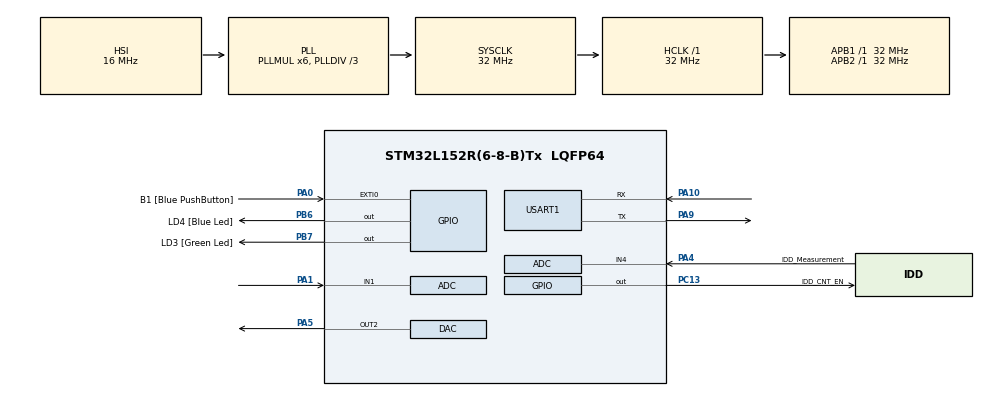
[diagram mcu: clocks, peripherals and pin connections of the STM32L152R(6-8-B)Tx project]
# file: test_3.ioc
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ADC.Channel-0\#ChannelRegularConversion=ADC_CHANNEL_1
ADC.ClockPrescaler=ADC_CLOCK_ASYNC_DIV1
ADC.ContinuousConvMode=DISABLE
ADC.DMAContinuousRequests=DISABLE
ADC.DataAlign=ADC_DATAALIGN_RIGHT
ADC.DiscontinuousConvMode=DISABLE
ADC.EOCSelection=ADC_EOC_SEQ_CONV
ADC.EnableAnalogWatchDog=false
ADC.ExternalTrigConv=ADC_SOFTWARE_START
ADC.ExternalTrigConvEdge=ADC_EXTERNALTRIGCONVEDGE_NONE
ADC.InjNumberOfConversion=0
ADC.LowPowerAutoPowerOff=ADC_AUTOPOWEROFF_DISABLE
ADC.LowPowerAutoWait=ADC_AUTOWAIT_DISABLE
ADC.NbrOfConversion=1
ADC.NbrOfConversionFlag=1
ADC.Rank-0\#ChannelRegularConversion=1
ADC.Resolution=ADC_RESOLUTION_12B
ADC.SamplingTime-0\#ChannelRegularConversion=ADC_SAMPLETIME_4CYCLES
ADC.ScanConvMode=ADC_SCAN_DISABLE
Dma.ADC.0.Direction=DMA_PERIPH_TO_MEMORY
Dma.ADC.0.Instance=DMA1_Channel1
Dma.ADC.0.MemDataAlignment=DMA_MDATAALIGN_HALFWORD
Dma.ADC.0.MemInc=DMA_MINC_ENABLE
Dma.ADC.0.Mode=DMA_NORMAL
Dma.ADC.0.PeriphDataAlignment=DMA_PDATAALIGN_HALFWORD
Dma.ADC.0.PeriphInc=DMA_PINC_DISABLE
Dma.ADC.0.Priority=DMA_PRIORITY_LOW
Dma.DAC_CH2.1.Direction=DMA_MEMORY_TO_PERIPH
Dma.DAC_CH2.1.Instance=DMA1_Channel3
Dma.DAC_CH2.1.MemDataAlignment=DMA_MDATAALIGN_HALFWORD
Dma.DAC_CH2.1.MemInc=DMA_MINC_ENABLE
Dma.DAC_CH2.1.Mode=DMA_NORMAL
Dma.DAC_CH2.1.PeriphDataAlignment=DMA_PDATAALIGN_HALFWORD
Dma.DAC_CH2.1.PeriphInc=DMA_PINC_DISABLE
Dma.DAC_CH2.1.Priority=DMA_PRIORITY_MEDIUM
Dma.Request0=ADC
Dma.Request1=DAC_CH2
FREERTOS.Queues01=uartCommand,16,uint32_t,0,Dynamic,NULL,NULL;uartSendMessage,16,uint16_t,0,Dynamic,NULL,NULL
FREERTOS.Tasks01=defaultTask,0,128,StartDefaultTask,Default,NULL,Dynamic,NULL,NULL;workCommandTask,-1,512,workCommand,Default,NULL,Dynamic,NULL,NULL;uartSendTask,-1,512,uartSend,Default,NULL,Dynamic,NULL,NULL
FREERTOS.configTOTAL_HEAP_SIZE=8192
Mcu.Family=STM32L1
Mcu.Name=STM32L152R(6-8-B)Tx
Mcu.Package=LQFP64
NVIC.DMA1_Channel1_IRQn=true\:6\:0\:true\:false\:true\:true\:false
NVIC.DMA1_Channel3_IRQn=true\:6\:0\:true\:false\:true\:true\:false
NVIC.PriorityGroup=NVIC_PRIORITYGROUP_4
NVIC.TIM2_IRQn=true\:0\:0\:false\:false\:true\:false\:false
NVIC.TIM3_IRQn=true\:5\:0\:false\:false\:true\:true\:true
NVIC.TimeBase=TIM2_IRQn
NVIC.TimeBaseIP=TIM2
NVIC.USART1_IRQn=true\:5\:0\:false\:false\:true\:true\:true
PA0-WKUP1.GPIO_Label=B1 [Blue PushButton]
PA0-WKUP1.GPIO_ModeDefaultEXTI=GPIO_MODE_EVT_RISING
PA0-WKUP1.GPIO_PuPd=GPIO_NOPULL
PA0-WKUP1.Signal=GPXTI0
PA1.Mode=IN1
PA1.Signal=ADC_IN1
PA10.Mode=Asynchronous
PA10.Signal=USART1_RX
PA13.GPIO_Label=SWDIO
PA13.Signal=SYS_JTMS-SWDIO
PA14.GPIO_Label=SWCLK
PA14.Signal=SYS_JTCK-SWCLK
PA15.GPIO_Label=SEG12 [GH08172T_SEG12]
PA15.GPIO_Mode=GPIO_MODE_AF_PP
PA15.GPIO_PuPd=GPIO_NOPULL
PA15.GPIO_Speed=GPIO_SPEED_FREQ_LOW
PA15.Signal=LCD_SEG17
PA2.GPIO_Label=SEG1 [GH08172T_SEG1]
PA2.GPIO_Mode=GPIO_MODE_AF_PP
PA2.GPIO_PuPd=GPIO_NOPULL
PA2.GPIO_Speed=GPIO_SPEED_FREQ_LOW
PA2.Signal=LCD_SEG1
PA3.GPIO_Label=SEG2 [GH08172T_SEG2]
PA3.GPIO_Mode=GPIO_MODE_AF_PP
PA3.GPIO_PuPd=GPIO_NOPULL
PA3.GPIO_Speed=GPIO_SPEED_FREQ_LOW
PA3.Signal=LCD_SEG2
PA4.GPIO_Label=IDD_Measurement
PA4.GPIO_Mode=GPIO_MODE_ANALOG
PA4.GPIO_PuPd=GPIO_NOPULL
PA4.Mode=IN4
PA4.Signal=ADC_IN4
PA5.Signal=COMP_DAC2_group
PA6.GPIO_Label=GRP2_Sampling [Touch_Slider_1]
PA6.Signal=TS_G2_IO1
PA7.GPIO_Label=GRP2_Ground [Touch_Slider_1]
PA7.Signal=TS_G2_IO2
PA8.GPIO_Label=COM0 [GH08172T_COM0]
PA8.GPIO_Mode=GPIO_MODE_AF_PP
PA8.GPIO_PuPd=GPIO_NOPULL
PA8.GPIO_Speed=GPIO_SPEED_FREQ_LOW
PA8.Signal=LCD_COM0
PA9.Mode=Asynchronous
PA9.Signal=USART1_TX
PB0.GPIO_Label=GRP3_Sampling [Touch_Slider_3]
PB0.Signal=TS_G3_IO1
PB1.GPIO_Label=GRP3_Ground [Touch_Slider_3]
PB1.Signal=TS_G3_IO2
PB10.GPIO_Label=SEG6 [GH08172T_SEG6]
PB10.GPIO_Mode=GPIO_MODE_AF_PP
PB10.GPIO_PuPd=GPIO_NOPULL
PB10.GPIO_Speed=GPIO_SPEED_FREQ_LOW
PB10.Signal=LCD_SEG10
PB11.GPIO_Label=SEG7 [GH08172T_SEG7]
PB11.GPIO_Mode=GPIO_MODE_AF_PP
PB11.GPIO_PuPd=GPIO_NOPULL
PB11.GPIO_Speed=GPIO_SPEED_FREQ_LOW
PB11.Signal=LCD_SEG11
PB12.GPIO_Label=SEG8 [GH08172T_SEG8]
PB12.GPIO_Mode=GPIO_MODE_AF_PP
PB12.GPIO_PuPd=GPIO_NOPULL
PB12.GPIO_Speed=GPIO_SPEED_FREQ_LOW
PB12.Signal=LCD_SEG12
PB13.GPIO_Label=SEG9 [GH08172T_SEG9]
PB13.GPIO_Mode=GPIO_MODE_AF_PP
PB13.GPIO_PuPd=GPIO_NOPULL
PB13.GPIO_Speed=GPIO_SPEED_FREQ_LOW
PB13.Signal=LCD_SEG13
PB14.GPIO_Label=SEG10 [GH08172T_SEG10]
PB14.GPIO_Mode=GPIO_MODE_AF_PP
PB14.GPIO_PuPd=GPIO_NOPULL
PB14.GPIO_Speed=GPIO_SPEED_FREQ_LOW
PB14.Signal=LCD_SEG14
PB15.GPIO_Label=SEG11 [GH08172T_SEG11]
PB15.GPIO_Mode=GPIO_MODE_AF_PP
PB15.GPIO_PuPd=GPIO_NOPULL
PB15.GPIO_Speed=GPIO_SPEED_FREQ_LOW
PB15.Signal=LCD_SEG15
PB3.GPIO_Label=SEG3 [GH08172T_SEG3]
PB3.GPIO_Mode=GPIO_MODE_AF_PP
PB3.GPIO_PuPd=GPIO_NOPULL
PB3.GPIO_Speed=GPIO_SPEED_FREQ_LOW
PB3.Signal=LCD_SEG7
PB4.GPIO_Label=SEG4 [GH08172T_SEG4]
PB4.GPIO_Mode=GPIO_MODE_AF_PP
PB4.GPIO_PuPd=GPIO_NOPULL
PB4.GPIO_Speed=GPIO_SPEED_FREQ_LOW
PB4.Signal=LCD_SEG8
PB5.GPIO_Label=SEG5 [GH08172T_SEG5]
PB5.GPIO_Mode=GPIO_MODE_AF_PP
PB5.GPIO_PuPd=GPIO_NOPULL
PB5.GPIO_Speed=GPIO_SPEED_FREQ_LOW
PB5.Signal=LCD_SEG9
PB6.GPIO_Label=LD4 [Blue Led]
PB6.GPIO_ModeDefaultOutputPP=GPIO_MODE_OUTPUT_PP
PB6.GPIO_PuPd=GPIO_NOPULL
PB6.GPIO_Speed=GPIO_SPEED_FREQ_LOW
PB6.Signal=GPIO_Output
PB7.GPIO_Label=LD3 [Green Led]
PB7.GPIO_ModeDefaultOutputPP=GPIO_MODE_OUTPUT_PP
PB7.GPIO_PuPd=GPIO_NOPULL
PB7.GPIO_Speed=GPIO_SPEED_FREQ_LOW
PB7.Signal=GPIO_Output
PB8.GPIO_Label=SEG13 [GH08172T_SEG13]
PB8.GPIO_Mode=GPIO_MODE_AF_PP
PB8.GPIO_PuPd=GPIO_NOPULL
PB8.GPIO_Speed=GPIO_SPEED_FREQ_LOW
PB8.Signal=LCD_SEG16
PB9.GPIO_Label=COM3 [GH08172T_COM3]
PB9.GPIO_Mode=GPIO_MODE_AF_PP
PB9.GPIO_PuPd=GPIO_NOPULL
PB9.GPIO_Speed=GPIO_SPEED_FREQ_LOW
PB9.Signal=LCD_COM3
PC0.GPIO_Label=SEG14 [GH08172T_SEG14]
PC0.GPIO_Mode=GPIO_MODE_AF_PP
PC0.GPIO_PuPd=GPIO_NOPULL
PC0.GPIO_Speed=GPIO_SPEED_FREQ_LOW
PC0.Signal=LCD_SEG18
PC1.GPIO_Label=SEG15 [GH08172T_SEG15]
PC1.GPIO_Mode=GPIO_MODE_AF_PP
PC1.GPIO_PuPd=GPIO_NOPULL
PC1.GPIO_Speed=GPIO_SPEED_FREQ_LOW
PC1.Signal=LCD_SEG19
PC10.GPIO_Label=SEG22 [GH08172T_SEG22]
PC10.GPIO_Mode=GPIO_MODE_AF_PP
PC10.GPIO_PuPd=GPIO_NOPULL
PC10.GPIO_Speed=GPIO_SPEED_FREQ_LOW
PC10.Signal=LCD_SEG28
PC11.GPIO_Label=SEG23 [GH08172T_SEG23]
PC11.GPIO_Mode=GPIO_MODE_AF_PP
PC11.GPIO_PuPd=GPIO_NOPULL
PC11.GPIO_Speed=GPIO_SPEED_FREQ_LOW
PC11.Signal=LCD_SEG29
PC13-WKUP2.GPIO_Label=IDD_CNT_EN
PC13-WKUP2.Signal=GPIO_Output
PC14-OSC32_IN.GPIO_Label=PC14-OSC32_IN
PC14-OSC32_IN.Signal=RCC_OSC32_IN
PC15-OSC32_OUT.GPIO_Label=PC15-OSC32_OUT
PC15-OSC32_OUT.Signal=RCC_OSC32_OUT
PC2.GPIO_Label=SEG16 [GH08172T_SEG16]
PC2.GPIO_Mode=GPIO_MODE_AF_PP
PC2.GPIO_PuPd=GPIO_NOPULL
PC2.GPIO_Speed=GPIO_SPEED_FREQ_LOW
PC2.Signal=LCD_SEG20
PC3.GPIO_Label=SEG17 [GH08172T_SEG17]
PC3.GPIO_Mode=GPIO_MODE_AF_PP
PC3.GPIO_PuPd=GPIO_NOPULL
PC3.GPIO_Speed=GPIO_SPEED_FREQ_LOW
PC3.Signal=LCD_SEG21
PC4.GPIO_Label=GRP9_Sampling [Touch_Slider_2]
PC4.Signal=TS_G9_IO1
PC5.GPIO_Label=GRP9_Ground [Touch_Slider_2]
PC5.Signal=TS_G9_IO2
PC6.GPIO_Label=SEG18 [GH08172T_SEG18]
PC6.GPIO_Mode=GPIO_MODE_AF_PP
PC6.GPIO_PuPd=GPIO_NOPULL
PC6.GPIO_Speed=GPIO_SPEED_FREQ_LOW
PC6.Signal=LCD_SEG24
PC7.GPIO_Label=SEG19 [GH08172T_SEG19]
PC7.GPIO_Mode=GPIO_MODE_AF_PP
PC7.GPIO_PuPd=GPIO_NOPULL
PC7.GPIO_Speed=GPIO_SPEED_FREQ_LOW
PC7.Signal=LCD_SEG25
PC8.GPIO_Label=SEG20 [GH08172T_SEG20]
PC8.GPIO_Mode=GPIO_MODE_AF_PP
PC8.GPIO_PuPd=GPIO_NOPULL
PC8.GPIO_Speed=GPIO_SPEED_FREQ_LOW
PC8.Signal=LCD_SEG26
PC9.GPIO_Label=SEG21 [GH08172T_SEG21]
PC9.GPIO_Mode=GPIO_MODE_AF_PP
PC9.GPIO_PuPd=GPIO_NOPULL
PC9.GPIO_Speed=GPIO_SPEED_FREQ_LOW
PC9.Signal=LCD_SEG27
ProjectManager.HeapSize=0x200
ProjectManager.StackSize=0x400
ProjectManager.TargetToolchain=SW4STM32
RCC.48MHZClocksFreq_Value=48000000
RCC.AHBFreq_Value=32000000
RCC.APB1Freq_Value=32000000
RCC.APB1TimFreq_Value=32000000
RCC.APB2Freq_Value=32000000
RCC.APB2TimFreq_Value=32000000
RCC.HCLKFreq_Value=32000000
RCC.HSE_VALUE=8000000
RCC.HSI_VALUE=16000000
RCC.LSE_VALUE=32768
RCC.MSI_VALUE=2097000
RCC.PLLDIV=RCC_PLL_DIV3
RCC.PLLMUL=RCC_PLL_MUL6
RCC.RTCClockSelectionVirtual=RCC_RTCCLKSOURCE_LSE
RCC.SYSCLKFreq_VALUE=32000000
RCC.SYSCLKSource=RCC_SYSCLKSOURCE_PLLCLK
RCC.USBOutput=48000000
RCC.VCOOutputFreq_Value=96000000
SH.COMP_DAC2_group.0=DAC_OUT2,DAC_OUT2
TIM3.Period=10
TIM3.Prescaler=3200
USART1.VirtualMode=VM_ASYNC
VP_FREERTOS_VS_ENABLE.Mode=Enabled
VP_SYS_VS_tim2.Mode=TIM2
VP_TIM3_VS_OPM.Mode=OPM_bit
board=STM32L-DISCOVERY

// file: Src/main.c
/**
  ******************************************************************************
  * @file           : main.c
  * @brief          : Main program body
  ******************************************************************************
  * This notice applies to any and all portions of this file
  * that are not between comment pairs USER CODE BEGIN and
  * USER CODE END. Other portions of this file, whether
  * inserted by the user or by software development tools
  * are owned by their respective copyright owners.
  *
  * Copyright (c) 2018 STMicroelectronics International N.V.
  * All rights reserved.
  *
  * Redistribution and use in source and binary forms, with or without
  * modification, are permitted, provided that the following conditions are met:
  *
  * 1. Redistribution of source code must retain the above copyright notice,
  *    this list of conditions and the following disclaimer.
  * 2. Redistributions in binary form must reproduce the above copyright notice,
  *    this list of conditions and the following disclaimer in the documentation
  *    and/or other materials provided with the distribution.
  * 3. Neither the name of STMicroelectronics nor the names of other
  *    contributors to this software may be used to endorse or promote products
  *    derived from this software without specific written permission.
  * 4. This software, including modifications and/or derivative works of this
  *    software, must execute solely and exclusively on microcontroller or
  *    microprocessor devices manufactured by or for STMicroelectronics.
  * 5. Redistribution and use of this software other than as permitted under
  *    this license is void and will automatically terminate your rights under
  *    this license.
  *
  * THIS SOFTWARE IS PROVIDED BY STMICROELECTRONICS AND CONTRIBUTORS "AS IS"
  * AND ANY EXPRESS, IMPLIED OR STATUTORY WARRANTIES, INCLUDING, BUT NOT
  * LIMITED TO, THE IMPLIED WARRANTIES OF MERCHANTABILITY, FITNESS FOR A
  * PARTICULAR PURPOSE AND NON-INFRINGEMENT OF THIRD PARTY INTELLECTUAL PROPERTY
  * RIGHTS ARE DISCLAIMED TO THE FULLEST EXTENT PERMITTED BY LAW. IN NO EVENT
  * SHALL STMICROELECTRONICS OR CONTRIBUTORS BE LIABLE FOR ANY DIRECT, INDIRECT,
  * INCIDENTAL, SPECIAL, EXEMPLARY, OR CONSEQUENTIAL DAMAGES (INCLUDING, BUT NOT
  * LIMITED TO, PROCUREMENT OF SUBSTITUTE GOODS OR SERVICES; LOSS OF USE, DATA,
  * OR PROFITS; OR BUSINESS INTERRUPTION) HOWEVER CAUSED AND ON ANY THEORY OF
  * LIABILITY, WHETHER IN CONTRACT, STRICT LIABILITY, OR TORT (INCLUDING
  * NEGLIGENCE OR OTHERWISE) ARISING IN ANY WAY OUT OF THE USE OF THIS SOFTWARE,
  * EVEN IF ADVISED OF THE POSSIBILITY OF SUCH DAMAGE.
  *
  ******************************************************************************
  */
#include "main.h"
#include "stm32l1xx_hal.h"
#include "cmsis_os.h"

/* USER CODE BEGIN Includes */
#include <stdio.h>
#include <stdlib.h>
#include <string.h>
/* USER CODE END Includes */

ADC_HandleTypeDef hadc;
DMA_HandleTypeDef hdma_adc;

DAC_HandleTypeDef hdac;
DMA_HandleTypeDef hdma_dac_ch2;

TIM_HandleTypeDef htim3;

UART_HandleTypeDef huart1;

osThreadId defaultTaskHandle;
osThreadId workCommandTaskHandle;
osThreadId uartSendTaskHandle;
osMessageQId uartCommandHandle;
osMessageQId uartSendMessageHandle;

/* USER CODE BEGIN PV */
/* Private variables ---------------------------------------------------------*/
/* USER CODE END PV */

void SystemClock_Config(void);
static void MX_GPIO_Init(void);
static void MX_DMA_Init(void);
static void MX_USART1_UART_Init(void);
static void MX_DAC_Init(void);
static void MX_ADC_Init(void);
static void MX_TIM3_Init(void);
void StartDefaultTask(void const * argument);
void workCommand(void const * argument);
void uartSend(void const * argument);

/* USER CODE BEGIN PFP */
/* Private function prototypes -----------------------------------------------*/

/* USER CODE END PFP */

/* USER CODE BEGIN 0 */
uint32_t adcValue;
uint32_t adcValueArray[1000];
uint32_t adcValueAvg;
uint16_t adcSampleRate = 1000;
/* USER CODE END 0 */

int main(void)
{

  /* MCU Configuration----------------------------------------------------------*/

  /* Reset of all peripherals, Initializes the Flash interface and the Systick. */
  HAL_Init();

  /* Configure the system clock */
  SystemClock_Config();

  /* Initialize all configured peripherals */
  MX_GPIO_Init();
  MX_DMA_Init();
  MX_USART1_UART_Init();
  MX_DAC_Init();
  MX_ADC_Init();
  MX_TIM3_Init();

  /* Create the thread(s) */
  /* definition and creation of defaultTask */
  osThreadDef(defaultTask, StartDefaultTask, osPriorityNormal, 0, 128);
  defaultTaskHandle = osThreadCreate(osThread(defaultTask), NULL);

  /* definition and creation of workCommandTask */
  osThreadDef(workCommandTask, workCommand, osPriorityBelowNormal, 0, 512);
  workCommandTaskHandle = osThreadCreate(osThread(workCommandTask), NULL);

  /* definition and creation of uartSendTask */
  osThreadDef(uartSendTask, uartSend, osPriorityBelowNormal, 0, 512);
  uartSendTaskHandle = osThreadCreate(osThread(uartSendTask), NULL);

  /* Create the queue(s) */
  /* definition and creation of uartCommand */
  osMessageQDef(uartCommand, 16, uint32_t);
  uartCommandHandle = osMessageCreate(osMessageQ(uartCommand), NULL);

  /* definition and creation of uartSendMessage */
  osMessageQDef(uartSendMessage, 16, uint16_t);
  uartSendMessageHandle = osMessageCreate(osMessageQ(uartSendMessage), NULL);

  /* Start scheduler */
  osKernelStart();

  /* We should never get here as control is now taken by the scheduler */

  /* Infinite loop */
  while (1)
  {

  }

}

void SystemClock_Config(void)
{

  RCC_OscInitTypeDef RCC_OscInitStruct;
  RCC_ClkInitTypeDef RCC_ClkInitStruct;

    /**Configure the main internal regulator output voltage
    */
  __HAL_PWR_VOLTAGESCALING_CONFIG(PWR_REGULATOR_VOLTAGE_SCALE1);

    /**Initializes the CPU, AHB and APB busses clocks
    */
  RCC_OscInitStruct.OscillatorType = RCC_OSCILLATORTYPE_HSI;
  RCC_OscInitStruct.HSIState = RCC_HSI_ON;
  RCC_OscInitStruct.HSICalibrationValue = 16;
  RCC_OscInitStruct.PLL.PLLState = RCC_PLL_ON;
  RCC_OscInitStruct.PLL.PLLSource = RCC_PLLSOURCE_HSI;
  RCC_OscInitStruct.PLL.PLLMUL = RCC_PLL_MUL6;
  RCC_OscInitStruct.PLL.PLLDIV = RCC_PLL_DIV3;
  if (HAL_RCC_OscConfig(&RCC_OscInitStruct) != HAL_OK)
  {
    _Error_Handler(__FILE__, __LINE__);
  }

    /**Initializes the CPU, AHB and APB busses clocks
    */
  RCC_ClkInitStruct.ClockType = RCC_CLOCKTYPE_HCLK|RCC_CLOCKTYPE_SYSCLK
                              |RCC_CLOCKTYPE_PCLK1|RCC_CLOCKTYPE_PCLK2;
  RCC_ClkInitStruct.SYSCLKSource = RCC_SYSCLKSOURCE_PLLCLK;
  RCC_ClkInitStruct.AHBCLKDivider = RCC_SYSCLK_DIV1;
  RCC_ClkInitStruct.APB1CLKDivider = RCC_HCLK_DIV1;
  RCC_ClkInitStruct.APB2CLKDivider = RCC_HCLK_DIV1;

  if (HAL_RCC_ClockConfig(&RCC_ClkInitStruct, FLASH_LATENCY_1) != HAL_OK)
  {
    _Error_Handler(__FILE__, __LINE__);
  }

    /**Configure the Systick interrupt time
    */
  HAL_SYSTICK_Config(HAL_RCC_GetHCLKFreq()/1000);

    /**Configure the Systick
    */
  HAL_SYSTICK_CLKSourceConfig(SYSTICK_CLKSOURCE_HCLK);

  /* SysTick_IRQn interrupt configuration */
  HAL_NVIC_SetPriority(SysTick_IRQn, 15, 0);
}

/* ADC init function */
static void MX_ADC_Init(void)
{

  ADC_ChannelConfTypeDef sConfig;

    /**Configure the global features of the ADC (Clock, Resolution, Data Alignment and number of conversion)
    */
  hadc.Instance = ADC1;
  hadc.Init.ClockPrescaler = ADC_CLOCK_ASYNC_DIV1;
  hadc.Init.Resolution = ADC_RESOLUTION_12B;
  hadc.Init.DataAlign = ADC_DATAALIGN_RIGHT;
  hadc.Init.ScanConvMode = ADC_SCAN_DISABLE;
  hadc.Init.EOCSelection = ADC_EOC_SEQ_CONV;
  hadc.Init.LowPowerAutoWait = ADC_AUTOWAIT_DISABLE;
  hadc.Init.LowPowerAutoPowerOff = ADC_AUTOPOWEROFF_DISABLE;
  hadc.Init.ChannelsBank = ADC_CHANNELS_BANK_A;
  hadc.Init.ContinuousConvMode = DISABLE;
  hadc.Init.NbrOfConversion = 1;
  hadc.Init.DiscontinuousConvMode = DISABLE;
  hadc.Init.ExternalTrigConv = ADC_SOFTWARE_START;
  hadc.Init.ExternalTrigConvEdge = ADC_EXTERNALTRIGCONVEDGE_NONE;
  hadc.Init.DMAContinuousRequests = DISABLE;
  if (HAL_ADC_Init(&hadc) != HAL_OK)
  {
    _Error_Handler(__FILE__, __LINE__);
  }

    /**Configure for the selected ADC regular channel its corresponding rank in the sequencer and its sample time.
    */
  sConfig.Channel = ADC_CHANNEL_1;
  sConfig.Rank = ADC_REGULAR_RANK_1;
  sConfig.SamplingTime = ADC_SAMPLETIME_4CYCLES;
  if (HAL_ADC_ConfigChannel(&hadc, &sConfig) != HAL_OK)
  {
    _Error_Handler(__FILE__, __LINE__);
  }

}

/* DAC init function */
static void MX_DAC_Init(void)
{

  DAC_ChannelConfTypeDef sConfig;

    /**DAC Initialization
    */
  hdac.Instance = DAC;
  if (HAL_DAC_Init(&hdac) != HAL_OK)
  {
    _Error_Handler(__FILE__, __LINE__);
  }

    /**DAC channel OUT2 config
    */
  sConfig.DAC_Trigger = DAC_TRIGGER_NONE;
  sConfig.DAC_OutputBuffer = DAC_OUTPUTBUFFER_ENABLE;
  if (HAL_DAC_ConfigChannel(&hdac, &sConfig, DAC_CHANNEL_2) != HAL_OK)
  {
    _Error_Handler(__FILE__, __LINE__);
  }

}

/* TIM3 init function */
static void MX_TIM3_Init(void)
{

  htim3.Instance = TIM3;
  htim3.Init.Prescaler = 3200;
  htim3.Init.CounterMode = TIM_COUNTERMODE_UP;
  htim3.Init.Period = 10;
  htim3.Init.ClockDivision = TIM_CLOCKDIVISION_DIV1;
  if (HAL_TIM_OnePulse_Init(&htim3, TIM_OPMODE_SINGLE) != HAL_OK)
  {
    _Error_Handler(__FILE__, __LINE__);
  }

}

/* USART1 init function */
static void MX_USART1_UART_Init(void)
{

  huart1.Instance = USART1;
  huart1.Init.BaudRate = 115200;
  huart1.Init.WordLength = UART_WORDLENGTH_8B;
  huart1.Init.StopBits = UART_STOPBITS_1;
  huart1.Init.Parity = UART_PARITY_NONE;
  huart1.Init.Mode = UART_MODE_TX_RX;
  huart1.Init.HwFlowCtl = UART_HWCONTROL_NONE;
  huart1.Init.OverSampling = UART_OVERSAMPLING_16;
  if (HAL_UART_Init(&huart1) != HAL_OK)
  {
    _Error_Handler(__FILE__, __LINE__);
  }

}

static void MX_DMA_Init(void)
{
  /* DMA controller clock enable */
  __HAL_RCC_DMA1_CLK_ENABLE();

  /* DMA interrupt init */
  /* DMA1_Channel1_IRQn interrupt configuration */
  HAL_NVIC_SetPriority(DMA1_Channel1_IRQn, 6, 0);
  HAL_NVIC_EnableIRQ(DMA1_Channel1_IRQn);
  /* DMA1_Channel3_IRQn interrupt configuration */
  HAL_NVIC_SetPriority(DMA1_Channel3_IRQn, 6, 0);
  HAL_NVIC_EnableIRQ(DMA1_Channel3_IRQn);

}

/** Configure pins as
        * Analog
        * Input
        * Output
        * EVENT_OUT
        * EXTI
     PC0   ------> LCD_SEG18
     PC1   ------> LCD_SEG19
     PC2   ------> LCD_SEG20
     PC3   ------> LCD_SEG21
     PA2   ------> LCD_SEG1
     PA3   ------> LCD_SEG2
     PA6   ------> TS_G2_IO1
     PA7   ------> TS_G2_IO2
     PC4   ------> TS_G9_IO1
     PC5   ------> TS_G9_IO2
     PB0   ------> TS_G3_IO1
     PB1   ------> TS_G3_IO2
     PB10   ------> LCD_SEG10
     PB11   ------> LCD_SEG11
     PB12   ------> LCD_SEG12
     PB13   ------> LCD_SEG13
     PB14   ------> LCD_SEG14
     PB15   ------> LCD_SEG15
     PC6   ------> LCD_SEG24
     PC7   ------> LCD_SEG25
     PC8   ------> LCD_SEG26
     PC9   ------> LCD_SEG27
     PA8   ------> LCD_COM0
     PA15   ------> LCD_SEG17
     PC10   ------> LCD_SEG28
     PC11   ------> LCD_SEG29
     PB3   ------> LCD_SEG7
     PB4   ------> LCD_SEG8
     PB5   ------> LCD_SEG9
     PB8   ------> LCD_SEG16
     PB9   ------> LCD_COM3
*/
static void MX_GPIO_Init(void)
{

  GPIO_InitTypeDef GPIO_InitStruct;

  /* GPIO Ports Clock Enable */
  __HAL_RCC_GPIOC_CLK_ENABLE();
  __HAL_RCC_GPIOA_CLK_ENABLE();
  __HAL_RCC_GPIOB_CLK_ENABLE();

  /*Configure GPIO pin Output Level */
  HAL_GPIO_WritePin(IDD_CNT_EN_GPIO_Port, IDD_CNT_EN_Pin, GPIO_PIN_RESET);

  /*Configure GPIO pin Output Level */
  HAL_GPIO_WritePin(GPIOB, LD4_Pin|LD3_Pin, GPIO_PIN_RESET);

  /*Configure GPIO pin : IDD_CNT_EN_Pin */
  GPIO_InitStruct.Pin = IDD_CNT_EN_Pin;
  GPIO_InitStruct.Mode = GPIO_MODE_OUTPUT_PP;
  GPIO_InitStruct.Pull = GPIO_NOPULL;
  GPIO_InitStruct.Speed = GPIO_SPEED_FREQ_LOW;
  HAL_GPIO_Init(IDD_CNT_EN_GPIO_Port, &GPIO_InitStruct);

  /*Configure GPIO pins : SEG14_Pin SEG15_Pin SEG16_Pin SEG17_Pin
                           SEG18_Pin SEG19_Pin SEG20_Pin SEG21_Pin
                           SEG22_Pin SEG23_Pin */
  GPIO_InitStruct.Pin = SEG14_Pin|SEG15_Pin|SEG16_Pin|SEG17_Pin
                          |SEG18_Pin|SEG19_Pin|SEG20_Pin|SEG21_Pin
                          |SEG22_Pin|SEG23_Pin;
  GPIO_InitStruct.Mode = GPIO_MODE_AF_PP;
  GPIO_InitStruct.Pull = GPIO_NOPULL;
  GPIO_InitStruct.Speed = GPIO_SPEED_FREQ_LOW;
  GPIO_InitStruct.Alternate = GPIO_AF11_LCD;
  HAL_GPIO_Init(GPIOC, &GPIO_InitStruct);

  /*Configure GPIO pin : B1_Pin */
  GPIO_InitStruct.Pin = B1_Pin;
  GPIO_InitStruct.Mode = GPIO_MODE_EVT_RISING;
  GPIO_InitStruct.Pull = GPIO_NOPULL;
  HAL_GPIO_Init(B1_GPIO_Port, &GPIO_InitStruct);

  /*Configure GPIO pins : SEG1_Pin SEG2_Pin COM0_Pin SEG12_Pin */
  GPIO_InitStruct.Pin = SEG1_Pin|SEG2_Pin|COM0_Pin|SEG12_Pin;
  GPIO_InitStruct.Mode = GPIO_MODE_AF_PP;
  GPIO_InitStruct.Pull = GPIO_NOPULL;
  GPIO_InitStruct.Speed = GPIO_SPEED_FREQ_LOW;
  GPIO_InitStruct.Alternate = GPIO_AF11_LCD;
  HAL_GPIO_Init(GPIOA, &GPIO_InitStruct);

  /*Configure GPIO pins : GRP2_Sampling_Pin GRP2_Ground_Pin */
  GPIO_InitStruct.Pin = GRP2_Sampling_Pin|GRP2_Ground_Pin;
  GPIO_InitStruct.Mode = GPIO_MODE_ANALOG;
  GPIO_InitStruct.Pull = GPIO_NOPULL;
  HAL_GPIO_Init(GPIOA, &GPIO_InitStruct);

  /*Configure GPIO pins : GRP9_Sampling_Pin GRP9_Ground_Pin */
  GPIO_InitStruct.Pin = GRP9_Sampling_Pin|GRP9_Ground_Pin;
  GPIO_InitStruct.Mode = GPIO_MODE_ANALOG;
  GPIO_InitStruct.Pull = GPIO_NOPULL;
  HAL_GPIO_Init(GPIOC, &GPIO_InitStruct);

  /*Configure GPIO pins : GRP3_Sampling_Pin GRP3_Ground_Pin */
  GPIO_InitStruct.Pin = GRP3_Sampling_Pin|GRP3_Ground_Pin;
  GPIO_InitStruct.Mode = GPIO_MODE_ANALOG;
  GPIO_InitStruct.Pull = GPIO_NOPULL;
  HAL_GPIO_Init(GPIOB, &GPIO_InitStruct);

  /*Configure GPIO pins : SEG6_Pin SEG7_Pin SEG8_Pin SEG9_Pin
                           SEG10_Pin SEG11_Pin SEG3_Pin SEG4_Pin
                           SEG5_Pin SEG13_Pin COM3_Pin */
  GPIO_InitStruct.Pin = SEG6_Pin|SEG7_Pin|SEG8_Pin|SEG9_Pin
                          |SEG10_Pin|SEG11_Pin|SEG3_Pin|SEG4_Pin
                          |SEG5_Pin|SEG13_Pin|COM3_Pin;
  GPIO_InitStruct.Mode = GPIO_MODE_AF_PP;
  GPIO_InitStruct.Pull = GPIO_NOPULL;
  GPIO_InitStruct.Speed = GPIO_SPEED_FREQ_LOW;
  GPIO_InitStruct.Alternate = GPIO_AF11_LCD;
  HAL_GPIO_Init(GPIOB, &GPIO_InitStruct);

  /*Configure GPIO pins : LD4_Pin LD3_Pin */
  GPIO_InitStruct.Pin = LD4_Pin|LD3_Pin;
  GPIO_InitStruct.Mode = GPIO_MODE_OUTPUT_PP;
  GPIO_InitStruct.Pull = GPIO_NOPULL;
  GPIO_InitStruct.Speed = GPIO_SPEED_FREQ_LOW;
  HAL_GPIO_Init(GPIOB, &GPIO_InitStruct);

}

/* USER CODE BEGIN 4 */

/*
 * ADC DMA Interrupt
 * Start TIMer for next mesurement
 * Copy result for avg value*/
void adcDMAInterrupt(){
	static uint16_t pCurPos = 0;
	adcValueArray[pCurPos] = adcValue;
	pCurPos++;
	if (pCurPos >= adcSampleRate) pCurPos = 0;
	HAL_DAC_SetValue(&hdac,DAC_CHANNEL_2,DAC_ALIGN_12B_R,adcValue);
	TIM3 -> CNT = 0;
	HAL_TIM_Base_Start(&htim3);
}
/*
 * Func for set ADC sample rate */
void setAdcSampleRate (uint16_t rate){
	if (rate == 0){
		rate = 1;
	}
	adcSampleRate = rate;
	HAL_TIM_Base_Stop(&htim3);
	TIM3 -> CNT = 0;
	uint32_t TEMP_ARR = 10000/rate;
	if (TEMP_ARR == 0){
		TEMP_ARR = 10;
	}
	TIM3 -> ARR = TEMP_ARR;
	HAL_TIM_Base_Start(&htim3);
}

/*
 * Func for get ADC avg value */
uint32_t getAvgADC (){
	uint32_t temp;
	uint16_t i = 0;
	for (i = 0;i < adcSampleRate;i++){
		temp += adcValueArray[i];
	}
	temp = temp/adcSampleRate;
	return temp;
}

/* USER CODE END 4 */

/* StartDefaultTask function */
void StartDefaultTask(void const * argument)
{

  for(;;)
  {
    osDelay(1);
  }
}

/* workCommand function */
void workCommand(void const * argument)
{
  /* USER CODE BEGIN workCommand */
	__HAL_TIM_ENABLE_IT(&htim3,TIM_IT_UPDATE);
	__HAL_UART_ENABLE_IT(&huart1,UART_IT_RXNE);
	__HAL_ADC_ENABLE_IT(&hadc,ADC_IT_EOC);
	HAL_DAC_Start(&hdac,DAC_CHANNEL_2);
  /* Infinite loop */
  for(;;)
  {
	  static char *pCmd;
	 	if( uartCommandHandle != 0 )
	 	{
	 		if( xQueueReceive( uartCommandHandle, &(pCmd), ( TickType_t ) 10 ) )
	 		{
	 			if (strcmp(pCmd,"LED_ON") == 0){
	 				HAL_GPIO_WritePin(LD3_GPIO_Port,LD3_Pin,GPIO_PIN_RESET);
	 			}else if (strcmp(pCmd,"LED_OFF") == 0){
	 				HAL_GPIO_WritePin(LD3_GPIO_Port,LD3_Pin,GPIO_PIN_SET);
	 			}else if (strncmp(pCmd,"SET_ADC_SAMPLE_RATE",19) == 0){
	 				int i = 0;
	 				uint16_t sampleRateTemp = 0;
	 				while(pCmd[i] != 0x00){
	 					if (pCmd[i] >= '0' && pCmd[i] <= '9'){
	 						sampleRateTemp = sampleRateTemp * 10 + pCmd[i]-'0';
	 					}
	 				   i++;
	 				}
	 				setAdcSampleRate(sampleRateTemp);
	 			}else if (strcmp(pCmd,"GET_ADC_AVG_VOLTAGE") == 0){
	 				osMessagePut(uartSendMessageHandle,UART_SEND_AVG_ADC,100);
	 			}
	 			if (pCmd != NULL) {
	 				free(pCmd);
	 				pCmd = NULL;
	 			}
	 		}
	 	}
  }
  /* USER CODE END workCommand */
}

/* uartSend function */
void uartSend(void const * argument)
{
  /* USER CODE BEGIN uartSend */
  /* Infinite loop */
  for(;;)
  {
	  static uint16_t pCmd;
	 	if( uartCommandHandle != 0 )
	 	{
	 		if( xQueueReceive( uartSendMessageHandle, &(pCmd), ( TickType_t ) 10 ) )
	 		{
	 			volatile char strAvgADC[40];
	 			volatile float avgNum;
	 			switch(pCmd){
	 			case UART_SEND_OK:
	 					HAL_UART_Transmit(&huart1,"\n\rOK",4,100);
	 				break;
	 			case UART_SEND_BUSY:
	 					HAL_UART_Transmit(&huart1,"\n\rBUSY",6,100);
					break;
	 			case UART_SEND_AVG_ADC:
					avgNum = ((float)(getAvgADC())/(float)4095) * 3.3;
					sprintf(strAvgADC, "\n\rAVG ADC = %.4f",avgNum);
					HAL_UART_Transmit(&huart1,strAvgADC,16,100);
	 				break;
	 			}
	 		}
	 	}
  }
  /* USER CODE END uartSend */
}

void HAL_TIM_PeriodElapsedCallback(TIM_HandleTypeDef *htim)
{
  if (htim->Instance == TIM2) {
    HAL_IncTick();
  }
}

void _Error_Handler(char *file, int line)
{
  while(1)
  {
  }
}

/************************ (C) COPYRIGHT STMicroelectronics *****END OF FILE****/
